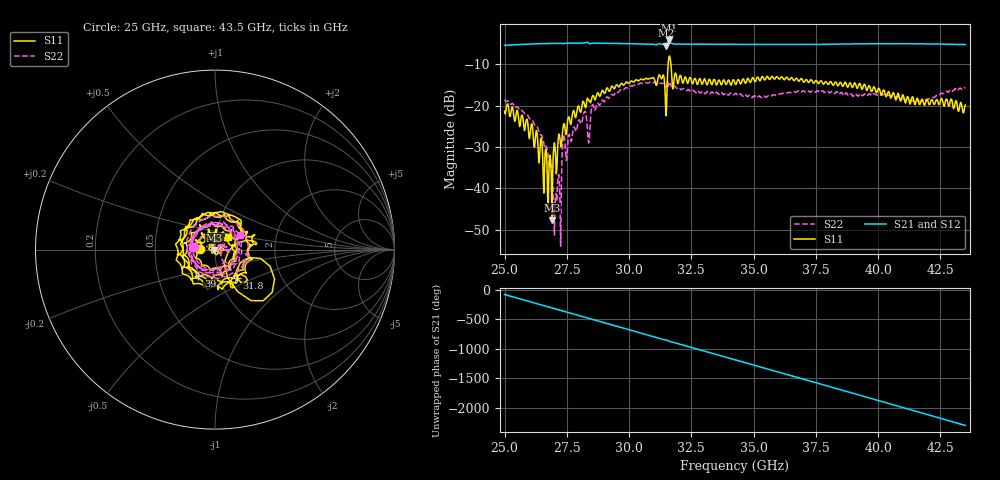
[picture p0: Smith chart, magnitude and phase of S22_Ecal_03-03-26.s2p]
!Keysight Technologies,N5224A,MY55441802,A.10.65.16
!Date: Tuesday, March 03, 2026 15:14:03
!Correction: S11(Full 2 Port(1,2))
!S21(Full 2 Port(1,2))
!S12(Full 2 Port(1,2))
!S22(Full 2 Port(1,2))
!S2P File: Measurements: S11, S21, S12, S22:
# Hz S  dB  R 50
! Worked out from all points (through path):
!   741 points, 25 GHz to 43.5 GHz, reference 50 ohm
!   highest |S21| = -4.21 dB at 31.6 GHz (marker M1); lowest = -5.5 dB at 31.48 GHz (marker M2)
!   group delay of S21, straight-line fit = 332 ps
!   lowest |S11| = -47.7 dB at 26.9 GHz (marker M3), VSWR 1.01, Z = 49.7 - j0.264 ohm
!   |S11| at or under -10 dB: start of sweep to 31.57 GHz; 31.68 GHz to end of sweep
!   |S22| runs from -54.0 to -14.1 dB; largest |S21 - S12| = 0.0077
!   S11 on the Smith chart (normalised r, x): 25 GHz: 0.84, +0.01; 31.8 GHz: 1.21, -0.40; 39 GHz: 0.80, -0.24; 43.5 GHz: 1.15, +0.16
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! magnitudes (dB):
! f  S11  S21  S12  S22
! 25 GHz  -21.4  -5.4  -5.4  -18.5
! 26.3 GHz  -26.5  -5.0  -5.0  -25.0
! 26.82 GHz  -32.0  -4.9  -4.9  -35.0
! 26.9 GHz  -47.7  -4.9  -4.9  -35.1
! 27.02 GHz  -30.2  -4.9  -4.9  -44.0
! 27.12 GHz  -30.7  -4.9  -4.9  -38.5
! 27.23 GHz  -28.1  -4.9  -4.9  -43.8
! 27.38 GHz  -24.4  -5.0  -5.0  -27.0
! 28.1 GHz  -20.4  -4.8  -4.9  -24.2
! 28.23 GHz  -20.2  -4.8  -4.8  -21.3
! 28.38 GHz  -18.8  -4.9  -4.8  -29.0
! 28.55 GHz  -17.5  -4.9  -4.8  -19.8
! 31.18 GHz  -12.9  -5.0  -5.0  -14.6
! 31.48 GHz  -22.5  -5.5  -5.5  -15.5
! 31.6 GHz  -8.1  -4.2  -4.2  -15.5
! 31.8 GHz  -13.9  -5.1  -5.1  -15.2
! 34.25 GHz  -14.6  -5.2  -5.1  -17.1
! 37.35 GHz  -14.1  -5.2  -5.2  -16.4
! 39 GHz  -15.2  -5.1  -5.0  -17.7
! 40.42 GHz  -16.6  -5.0  -5.0  -17.4
! 41.7 GHz  -19.3  -5.0  -5.0  -18.9
! 43.5 GHz  -19.8  -5.2  -5.2  -15.8
